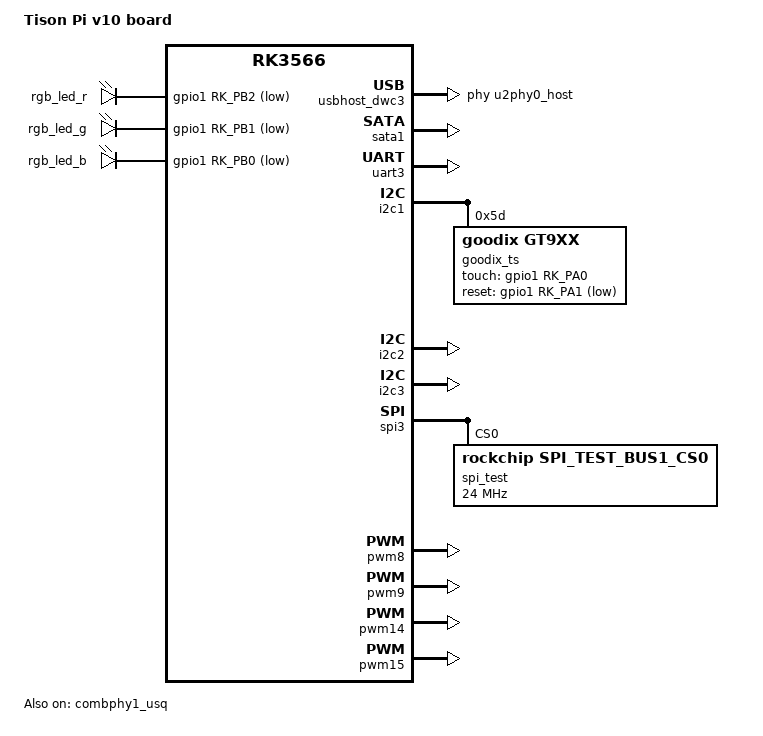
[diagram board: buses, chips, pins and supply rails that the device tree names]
// SPDX-License-Identifier: (GPL-2.0+ OR MIT)
/*
 * Copyright (c) 2020 Rockchip Electronics Co., Ltd.
 *
 */

/dts-v1/;

#include <dt-bindings/gpio/gpio.h>
#include <dt-bindings/display/media-bus-format.h>
#include <dt-bindings/pinctrl/rockchip.h>
#include "rk3566.dtsi"
#include <dt-bindings/display/rockchip_vop.h>


//tspi核心配置层，这里是几乎后期不需要怎么改动
#include "rk3566-tison-pi-v10.dtsi"

//【开/关】EDP 显示屏幕配置，用户可以基于此复制自己的屏幕，注意EDP与MIPI屏幕互斥，因为共用了VOP如果需要同显自行修改
// #include "rk3566-tison-pi-edp-v10.dtsi"

//【开/关】mipi 显示屏幕配置，用户可以基于此复制自己的屏幕，注意EDP与MIPI屏幕互斥，因为共用了VOP如果需要同显自行修改
// #include "rk3566-tison-pi-dsi-v10.dtsi"

//【开/关】HDMI 显示屏幕配置，里面内容几乎可以不用动，如果不需要hdmi显示直接注释掉即可
#include "rk3566-tison-pi-hdmi-v10.dtsi"

//【开/关】摄像头 目前视频的是ov5659
// #include "rk3566-tison-pi-csi-v10.dtsi"

// 开/关】网口 扩展板上使用的是千兆网，不接扩展板情况下可以关闭
// #include "rk3566-tison-pi-gmac1-v10.dtsi"

//【开/关】下方是用户定义层，所有用户修改理论上在此下方修改就好了
/ {
	model = "Tison Pi v10 board";
	compatible = "lckfb,tison-pi-v10", "rockchip,rk3566";

	rk_headset: rk-headset {
		compatible = "rockchip_headset";
		headset_gpio = <&gpio0 RK_PC5 GPIO_ACTIVE_HIGH>;
		pinctrl-names = "default";
		pinctrl-0 = <&hp_det>;
	};

	leds: leds {
		compatible = "gpio-leds";
		rgb_led_r: rgb-led-r {
			gpios = <&gpio1 RK_PB2 GPIO_ACTIVE_LOW>;
			linux,default-trigger = "timer";
			linux,delay-reg = <0>;   		// 延时注册
			linux,blink-delay-on = <500>; 	// 打开时间
			linux,blink-delay-off = <500>;	// 关闭时间
		};
		rgb_led_g: rgb-led-g {
			gpios = <&gpio1 RK_PB1 GPIO_ACTIVE_LOW>;
			linux,default-trigger = "timer";
			linux,delay-reg = <100>;   		// 延时注册
			linux,blink-delay-on = <1000>; 
			linux,blink-delay-off = <1000>;
		};
		rgb_led_b: rgb-led-b {
			gpios = <&gpio1 RK_PB0 GPIO_ACTIVE_LOW>;
			linux,default-trigger = "timer";
			linux,delay-reg = <100>;  		// 延时注册
			linux,blink-delay-on = <1500>; 
			linux,blink-delay-off = <1500>;
		};
	};

};

&usbhost_dwc3 {
	phys = <&u2phy0_host>; 
	phy-names = "usb2-phy";
	maximum-speed = "high-speed"; 
	status = "okay";
};
&combphy1_usq {
	rockchip,dis-u3otg1-port; 
	status = "okay";
};

&sata1 {
	rockchip,enable-ssc;
	status = "okay";
};

&pinctrl {
	headphone {
		hp_det: hp-det {
			rockchip,pins = <0 RK_PC5 RK_FUNC_GPIO &pcfg_pull_none>;
		};
	};
	ex39_usb {
		ex39_usb_vcc5v0_host_en: ex39-usb-vcc5v0-host-en {
			rockchip,pins = <0 RK_PA5 RK_FUNC_GPIO &pcfg_pull_none>;
		};
	};
	dsi1 {
		touch_gpio: touch-gpio {
			rockchip,pins = <1 RK_PA0 RK_FUNC_GPIO &pcfg_pull_up>;
		};
	};
};

//用户三色灯
&leds {
	status = "okay";
};

//耳机插入检测，不使用扩展板情况需关闭，否则默认会检测到耳机插入
&rk_headset {
	status = "disabled";
};

//用户串口3
&uart3 {
	status = "okay";
	pinctrl-names = "default";
	pinctrl-0 = <&uart3m1_xfer>;
};

&i2c1 {
	status = "okay";
	goodix_ts@5d {
		compatible = "goodix,gt9xx";
		reg = <0x5d>;
		pinctrl-names = "default";
		pinctrl-0 = <&touch_gpio>;
        touch-gpio = <&gpio1 RK_PA0 IRQ_TYPE_LEVEL_LOW>;
        reset-gpio = <&gpio1 RK_PA1 GPIO_ACTIVE_LOW>;
		// goodix,irq-gpio = <&gpio1 RK_PA0 IRQ_TYPE_LEVEL_LOW>;   //中断IO
		// goodix,rst-gpio = <&gpio1 RK_PA1 GPIO_ACTIVE_LOW>;      //复位IO
		max-x = <800>;   //x方向解析度
		max-y = <1280>;  //y方向解析度
		tp-size = <911>; //TP尺寸
		goodix,cfg-group0 = [
			42 D0 02 00 05 05 75 01 01 0F 24 
			0F 64 3C 03 05 00 00 00 02 00 00 
			00 16 19 1C 14 8C 0E 0E 24 00 31 
			0D 00 00 00 83 33 1D 00 41 00 00 
			00 00 00 08 0A 00 2B 1C 3C 94 D5 
			03 08 00 00 04 93 1E 00 82 23 00 
			74 29 00 69 2F 00 5F 37 00 5F 20 
			40 60 00 F0 40 30 55 50 27 00 00 
			00 00 00 00 00 00 00 00 00 00 00 
			00 00 00 00 00 00 00 14 19 00 00 
			50 50 02 04 06 08 0A 0C 0E 10 12 
			14 16 18 1A 1C 00 00 00 00 00 00 
			00 00 00 00 00 00 00 00 00 00 1D 
			1E 1F 20 21 22 24 26 28 29 2A 1C 
			18 16 14 13 12 10 0F 0C 0A 08 06 
			04 02 00 00 00 00 00 00 00 00 00 
			00 00 00 00 00 00 00 00 9C 01
		];
		goodix,cfg-group2 = [
			48 D0 02 00 05 05 75 01 01 0F 24 
			0F 64 3C 03 05 00 00 00 02 00 00 
			00 16 19 1C 14 8C 0E 0E 24 00 31 
			0D 00 00 00 83 33 1D 00 41 00 00 
			3C 0A 14 08 0A 00 2B 1C 3C 94 D5 
			03 08 00 00 04 93 1E 00 82 23 00 
			74 29 00 69 2F 00 5F 37 00 5F 20 
			40 60 00 F0 40 30 55 50 27 00 00 
			00 00 00 00 00 00 00 00 00 00 00 
			00 00 00 00 00 00 00 14 19 00 00 
			50 50 02 04 06 08 0A 0C 0E 10 12 
			14 16 18 1A 1C 00 00 00 00 00 00 
			00 00 00 00 00 00 00 00 00 00 1D 
			1E 1F 20 21 22 24 26 28 29 2A 1C 
			18 16 14 13 12 10 0F 0C 0A 08 06 
			04 02 00 00 00 00 00 00 00 00 00 
			00 00 00 00 00 00 00 00 3C 01
		];
	};
};

//用户I2C2
&i2c2 {
	status = "okay";
};

&i2c3 {
	status = "okay";
	pinctrl-names = "default";
	pinctrl-0 = <&i2c3m1_xfer>;
};


&spi3 {
	status = "okay";
	max-freq = <48000000>;
	dma-names = "tx","rx";
	pinctrl-names = "default", "high_speed";
	pinctrl-0 = <&spi3m1_cs0 &spi3m1_pins>;
	pinctrl-1 = <&spi3m1_cs0 &spi3m1_pins_hs>;
	spi_test@10 {
		compatible ="rockchip,spi_test_bus1_cs0";
		reg = <0>;
		spi-max-frequency = <24000000>;
		status = "okay";
	};
};

&pwm8 {
	status = "okay";
};

&pwm9 {
	status = "okay";
};

&pwm14 {
	status = "okay";
};

//pwd 15遥控器
&pwm15 {
	status = "okay";
	compatible = "rockchip,remotectl-pwm";
	remote_pwm_id = <3>;
	handle_cpu_id = <1>;
	remote_support_psci = <0>;
	pinctrl-names = "default";
	pinctrl-0 = <&pwm15m0_pins>;

	//用户自定方法：adb设置输出日志并通过dmesg确定usercode=address与key_table=command
	//echo 1 > sys/module/rockchip_pwm_remotectl/parameters/code_print
	//键值可在 include/dt-bindings/input/linux-event-codes.h 中查找
	ir_key1 {
		rockchip,usercode = <0xff00>;
		rockchip,key_table =
			<0xf2	KEY_MENU>,
			<0xe9	KEY_BACK>,
			<0xe3	KEY_ENTER>,
			<0xe7	KEY_UP>,
			<0xad	KEY_DOWN>,
			<0xf7	KEY_LEFT>,
			<0xa5	KEY_RIGHT>,
			<0xba	KEY_1>,
			<0xb9	KEY_2>,
			<0xb8	KEY_3>,
			<0xbb	KEY_4>,
			<0xbf	KEY_5>,
			<0xbc	KEY_6>,
			<0xf8	KEY_7>,
			<0xea	KEY_8>,
			<0xf6	KEY_9>,
			<0xe6	KEY_0>;
	};
};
